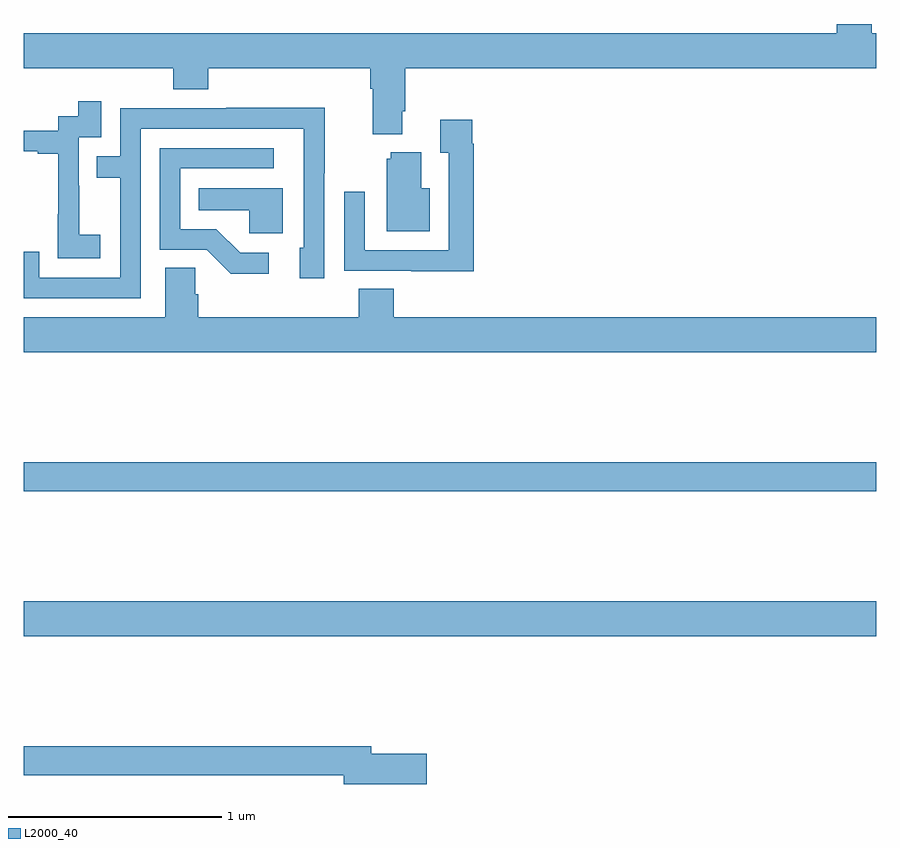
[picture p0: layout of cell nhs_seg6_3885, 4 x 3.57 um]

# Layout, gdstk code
import gdstk
lib = gdstk.Library(unit=1e-6, precision=1e-09)
def R(c, l, rs):  # rectangles x0, y0, x1, y1
    for r in rs: c.add(gdstk.rectangle(r[:2], r[2:], *l))
def P(c, l, *ps):  # polygons
    for p in ps: c.add(gdstk.Polygon(p, *l))
L2000_40 = (2000, 40)

nhs_seg6_3885 = lib.new_cell('nhs_seg6_3885')
R(nhs_seg6_3885, L2000_40, [(339,988.628,343,988.792), (339,989.308,343,989.444)])
P(nhs_seg6_3885, L2000_40, [(340.777,991.09),(340.79,991.09),(340.79,991.292),(343,991.292),(343,991.456),(342.98,991.456),(342.98,991.5),(342.815,991.5),(342.815,991.456),(339,991.456),(339,991.292),(339.701,991.292),(339.701,991.193),(339.866,991.193),(339.866,991.292),(340.625,991.292),(340.625,991.196),(340.637,991.196),(340.637,990.983),(340.777,990.983)],
  [(339.358,990.511),(339.26,990.511),(339.26,990.74),(339.258,990.74),(339.258,990.969),(339.363,990.969),(339.363,991.138),(339.255,991.138),(339.255,991.068),(339.162,991.068),(339.162,990.999),(339,990.999),(339,990.903),(339.065,990.903),(339.065,990.891),(339.161,990.891),(339.161,990.607),(339.16,990.607),(339.16,990.401),(339.358,990.401)],
  [(339.549,991.008),(340.313,991.008),(340.313,990.754),(340.314,990.754),(340.314,990.45),(340.295,990.45),(340.295,990.306),(340.41,990.306),(340.41,990.799),(340.413,990.799),(340.413,991.106),(339.949,991.106),(339.949,991.104),(339.453,991.104),(339.453,990.879),(339.343,990.879),(339.343,990.778),(339.453,990.778),(339.453,990.309),(339.072,990.309),(339.072,990.432),(339,990.432),(339,990.213),(339.549,990.213)],
  [(341.111,990.938),(341.104,990.938),(341.104,991.051),(340.955,991.051),(340.955,990.895),(340.995,990.895),(340.995,990.438),(340.599,990.438),(340.599,990.712),(340.503,990.712),(340.503,990.342),(340.819,990.342),(340.819,990.341),(341.111,990.341)],
  [(340.15,990.426),(340.015,990.426),(339.904,990.537),(339.735,990.537),(339.735,990.822),(340.174,990.822),(340.174,990.918),(339.639,990.918),(339.639,990.441),(339.858,990.441),(339.971,990.329),(340.15,990.329)],
  [(340.906,990.73),(340.864,990.73),(340.864,990.898),(340.721,990.898),(340.721,990.867),(340.703,990.867),(340.703,990.527),(340.906,990.527)],
  [(340.216,990.73),(339.82,990.73),(339.82,990.626),(340.059,990.626),(340.059,990.518),(340.216,990.518)],
  [(343,990.124),(340.736,990.124),(340.736,990.257),(340.571,990.257),(340.571,990.124),(339.818,990.124),(339.818,990.233),(339.804,990.233),(339.804,990.356),(339.665,990.356),(339.665,990.124),(339,990.124),(339,989.96),(343,989.96)],
  [(340.891,988.076),(340.63,988.076),(340.63,988.112),(339,988.112),(339,987.976),(340.502,987.976),(340.502,987.934),(340.891,987.934)])

lib.write_gds('nhs_seg6_3885.gds')
